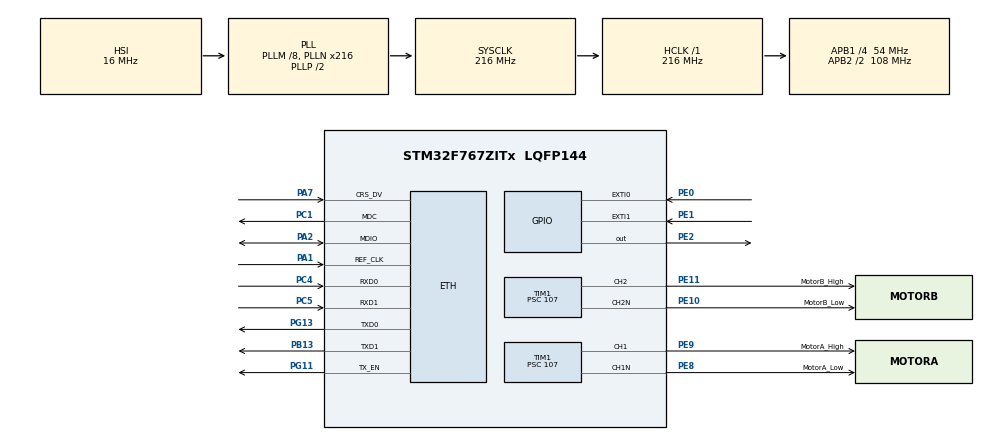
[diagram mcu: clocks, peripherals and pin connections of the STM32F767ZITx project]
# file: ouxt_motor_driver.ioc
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ETH.MediaInterface=HAL_ETH_RMII_MODE
ETH.RxMode=ETH_RXINTERRUPT_MODE
FREERTOS.Tasks01=defaultTask,0,512,StartDefaultTask,Default,NULL,Static,defaultTaskBuffer,defaultTaskControlBlock
FREERTOS.configMINIMAL_STACK_SIZE=512
FREERTOS.configTOTAL_HEAP_SIZE=30720
LWIP.BSP.number=1
LWIP.GATEWAY_ADDRESS=192.168.000.001
LWIP.IP_ADDRESS=192.168.000.200
LWIP.LWIP_DHCP=0
LWIP.LWIP_TCP=0
LWIP.NETMASK_ADDRESS=255.255.255.000
LWIP.Version=v2.1.2_Cube
LWIP0.BSP.STBoard=false
LWIP0.BSP.api=BSP_COMPONENT_DRIVER
LWIP0.BSP.component=LAN8742
LWIP0.BSP.instance=LAN8742
LWIP0.BSP.name=Driver_PHY
LWIP0.BSP.semaphore=S_LAN8742
LWIP0.BSP.solution=LAN8742
Mcu.Family=STM32F7
Mcu.Name=STM32F767ZITx
Mcu.Package=LQFP144
NVIC.ETH_IRQn=true\:5\:0\:false\:false\:true\:true\:false\:true\:true
NVIC.PriorityGroup=NVIC_PRIORITYGROUP_4
NVIC.TIM1_UP_TIM10_IRQn=true\:15\:0\:false\:false\:true\:false\:false\:true\:true
NVIC.TIM8_TRG_COM_TIM14_IRQn=true\:15\:0\:false\:false\:true\:false\:false\:true\:true
NVIC.TimeBase=TIM8_TRG_COM_TIM14_IRQn
NVIC.TimeBaseIP=TIM14
PA1.Mode=RMII
PA1.Signal=ETH_REF_CLK
PA13.Mode=Serial_Wire
PA13.Signal=SYS_JTMS-SWDIO
PA14.Mode=Serial_Wire
PA14.Signal=SYS_JTCK-SWCLK
PA2.Mode=RMII
PA2.Signal=ETH_MDIO
PA7.Mode=RMII
PA7.Signal=ETH_CRS_DV
PB13.Mode=RMII
PB13.Signal=ETH_TXD1
PC1.Mode=RMII
PC1.Signal=ETH_MDC
PC14/OSC32_IN.Mode=LSE-External-Oscillator
PC14/OSC32_IN.Signal=RCC_OSC32_IN
PC15/OSC32_OUT.Mode=LSE-External-Oscillator
PC15/OSC32_OUT.Signal=RCC_OSC32_OUT
PC4.Mode=RMII
PC4.Signal=ETH_RXD0
PC5.Mode=RMII
PC5.Signal=ETH_RXD1
PE0.Signal=GPXTI0
PE1.Signal=GPXTI1
PE10.GPIO_Label=MotorB_Low
PE10.GPIO_Speed=GPIO_SPEED_FREQ_VERY_HIGH
PE10.Mode=PWM Generation2 CH2 CH2N
PE10.Signal=TIM1_CH2N
PE11.GPIO_Label=MotorB_High
PE11.GPIO_Speed=GPIO_SPEED_FREQ_VERY_HIGH
PE11.Signal=S_TIM1_CH2
PE2.Signal=GPIO_Output
PE8.GPIO_Label=MotorA_Low
PE8.GPIO_Speed=GPIO_SPEED_FREQ_VERY_HIGH
PE8.Mode=PWM Generation1 CH1 CH1N
PE8.Signal=TIM1_CH1N
PE9.GPIO_Label=MotorA_High
PE9.GPIO_Speed=GPIO_SPEED_FREQ_VERY_HIGH
PE9.Signal=S_TIM1_CH1
PG11.Mode=RMII
PG11.Signal=ETH_TX_EN
PG13.Mode=RMII
PG13.Signal=ETH_TXD0
PH0/OSC_IN.Mode=HSE-External-Clock-Source
PH0/OSC_IN.Signal=RCC_OSC_IN
PH1/OSC_OUT.Mode=HSE-External-Clock-Source
PH1/OSC_OUT.Signal=RCC_OSC_OUT
ProjectManager.HeapSize=0x200
ProjectManager.StackSize=0x400
ProjectManager.TargetToolchain=STM32CubeIDE
RCC.AHBFreq_Value=216000000
RCC.APB1CLKDivider=RCC_HCLK_DIV4
RCC.APB1Freq_Value=54000000
RCC.APB1TimFreq_Value=108000000
RCC.APB2CLKDivider=RCC_HCLK_DIV2
RCC.APB2Freq_Value=108000000
RCC.APB2TimFreq_Value=216000000
RCC.CortexFreq_Value=216000000
RCC.HCLKFreq_Value=216000000
RCC.HSE_VALUE=8000000
RCC.HSI_VALUE=16000000
RCC.PLLM=8
RCC.PLLN=216
RCC.SYSCLKFreq_VALUE=216000000
RCC.SYSCLKSource=RCC_SYSCLKSOURCE_PLLCLK
RCC.USBFreq_Value=216000000
RCC.VCOOutputFreq_Value=432000000
SH.S_TIM1_CH1.0=TIM1_CH1,PWM Generation1 CH1 CH1N
SH.S_TIM1_CH2.0=TIM1_CH2,PWM Generation2 CH2 CH2N
TIM1.AutoReloadPreload=TIM_AUTORELOAD_PRELOAD_ENABLE
TIM1.AutomaticOutput=TIM_AUTOMATICOUTPUT_ENABLE
TIM1.Channel-PWM\ Generation1\ CH1\ CH1N=TIM_CHANNEL_1
TIM1.Channel-PWM\ Generation2\ CH2\ CH2N=TIM_CHANNEL_2
TIM1.DeadTime=0xac
TIM1.OCIdleState_1=TIM_OCIDLESTATE_SET
TIM1.OCIdleState_2=TIM_OCIDLESTATE_SET
TIM1.OCNIdleState_2=TIM_OCNIDLESTATE_SET
TIM1.Period=99
TIM1.Prescaler=107
VP_FREERTOS_VS_CMSIS_V1.Mode=CMSIS_V1
VP_LWIP_VS_Enabled.Mode=Enabled
VP_SYS_VS_tim14.Mode=TIM14
VP_TIM1_VS_ClockSourceINT.Mode=Internal
board=custom

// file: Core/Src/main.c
/* USER CODE BEGIN Header */
/**
  ******************************************************************************
  * @file           : main.c
  * @brief          : Main program body
  ******************************************************************************
  * @attention
  *
  * Copyright (c) 2024 STMicroelectronics.
  * All rights reserved.
  *
  * This software is licensed under terms that can be found in the LICENSE file
  * in the root directory of this software component.
  * If no LICENSE file comes with this software, it is provided AS-IS.
  *
  ******************************************************************************
  */
/* USER CODE END Header */
#include "main.h"
#include "cmsis_os.h"
#include "lwip.h"

/* USER CODE BEGIN Includes */
#include "motor.h"
#include "sockets.h"
#include "proto/thruster_command.pb.h"
#include "pb.h"
#include "pb_common.h"
#include "pb_decode.h"
#include "pb_encode.h"
#include "udp.h"
/* USER CODE END Includes */

/* USER CODE BEGIN PTD */
#define LWIP_TIMEVAL_PRIVATE	0
/* ping */
#define PING_USE_SOCKETS	1	//1=ping_thread
#define sys_msleep	vTaskDelay

/* USER CODE END PTD */

/* USER CODE BEGIN PM */
MotorHandleType motor = {};
/* USER CODE END PM */

TIM_HandleTypeDef htim1;

osThreadId defaultTaskHandle;
uint32_t defaultTaskBuffer[ 512 ];
osStaticThreadDef_t defaultTaskControlBlock;

void SystemClock_Config(void);
static void MX_GPIO_Init(void);
static void MX_TIM1_Init(void);
void StartDefaultTask(void const * argument);

int main(void)
{

  /* MCU Configuration--------------------------------------------------------*/

  /* Reset of all peripherals, Initializes the Flash interface and the Systick. */
  HAL_Init();

  /* Configure the system clock */
  SystemClock_Config();

  /* Initialize all configured peripherals */
  MX_GPIO_Init();
  MX_TIM1_Init();
  /* USER CODE BEGIN 2 */

  /*Initialize structure of motor handler*/
  motorHandleStructInit(&htim1, &motor);
  /*Enable to output PWM */
  motorEnablePWM_Output(&motor);
  /*Set duty*/
  motorSetSpeed(&motor, 0.0, 0.3);

  /* USER CODE END 2 */

  /* Create the thread(s) */
  /* definition and creation of defaultTask */
  osThreadStaticDef(defaultTask, StartDefaultTask, osPriorityNormal, 0, 512, defaultTaskBuffer, &defaultTaskControlBlock);
  defaultTaskHandle = osThreadCreate(osThread(defaultTask), NULL);

  /* Start scheduler */
  osKernelStart();

  /* We should never get here as control is now taken by the scheduler */

  /* Infinite loop */
  while (1)
  {

  }
}

void SystemClock_Config(void)
{
  RCC_OscInitTypeDef RCC_OscInitStruct = {0};
  RCC_ClkInitTypeDef RCC_ClkInitStruct = {0};

  /** Configure LSE Drive Capability
  */
  HAL_PWR_EnableBkUpAccess();

  /** Configure the main internal regulator output voltage
  */
  __HAL_RCC_PWR_CLK_ENABLE();
  __HAL_PWR_VOLTAGESCALING_CONFIG(PWR_REGULATOR_VOLTAGE_SCALE1);

  /** Initializes the RCC Oscillators according to the specified parameters
  * in the RCC_OscInitTypeDef structure.
  */
  RCC_OscInitStruct.OscillatorType = RCC_OSCILLATORTYPE_HSI;
  RCC_OscInitStruct.HSIState = RCC_HSI_ON;
  RCC_OscInitStruct.HSICalibrationValue = RCC_HSICALIBRATION_DEFAULT;
  RCC_OscInitStruct.PLL.PLLState = RCC_PLL_ON;
  RCC_OscInitStruct.PLL.PLLSource = RCC_PLLSOURCE_HSI;
  RCC_OscInitStruct.PLL.PLLM = 8;
  RCC_OscInitStruct.PLL.PLLN = 216;
  RCC_OscInitStruct.PLL.PLLP = RCC_PLLP_DIV2;
  RCC_OscInitStruct.PLL.PLLQ = 2;
  RCC_OscInitStruct.PLL.PLLR = 2;
  if (HAL_RCC_OscConfig(&RCC_OscInitStruct) != HAL_OK)
  {
    Error_Handler();
  }

  /** Activate the Over-Drive mode
  */
  if (HAL_PWREx_EnableOverDrive() != HAL_OK)
  {
    Error_Handler();
  }

  /** Initializes the CPU, AHB and APB buses clocks
  */
  RCC_ClkInitStruct.ClockType = RCC_CLOCKTYPE_HCLK|RCC_CLOCKTYPE_SYSCLK
                              |RCC_CLOCKTYPE_PCLK1|RCC_CLOCKTYPE_PCLK2;
  RCC_ClkInitStruct.SYSCLKSource = RCC_SYSCLKSOURCE_PLLCLK;
  RCC_ClkInitStruct.AHBCLKDivider = RCC_SYSCLK_DIV1;
  RCC_ClkInitStruct.APB1CLKDivider = RCC_HCLK_DIV4;
  RCC_ClkInitStruct.APB2CLKDivider = RCC_HCLK_DIV2;

  if (HAL_RCC_ClockConfig(&RCC_ClkInitStruct, FLASH_LATENCY_7) != HAL_OK)
  {
    Error_Handler();
  }
}

static void MX_TIM1_Init(void)
{

  TIM_ClockConfigTypeDef sClockSourceConfig = {0};
  TIM_MasterConfigTypeDef sMasterConfig = {0};
  TIM_OC_InitTypeDef sConfigOC = {0};
  TIM_BreakDeadTimeConfigTypeDef sBreakDeadTimeConfig = {0};

  htim1.Instance = TIM1;
  htim1.Init.Prescaler = 107;
  htim1.Init.CounterMode = TIM_COUNTERMODE_UP;
  htim1.Init.Period = 99;
  htim1.Init.ClockDivision = TIM_CLOCKDIVISION_DIV1;
  htim1.Init.RepetitionCounter = 0;
  htim1.Init.AutoReloadPreload = TIM_AUTORELOAD_PRELOAD_ENABLE;
  if (HAL_TIM_Base_Init(&htim1) != HAL_OK)
  {
    Error_Handler();
  }
  sClockSourceConfig.ClockSource = TIM_CLOCKSOURCE_INTERNAL;
  if (HAL_TIM_ConfigClockSource(&htim1, &sClockSourceConfig) != HAL_OK)
  {
    Error_Handler();
  }
  if (HAL_TIM_PWM_Init(&htim1) != HAL_OK)
  {
    Error_Handler();
  }
  sMasterConfig.MasterOutputTrigger = TIM_TRGO_RESET;
  sMasterConfig.MasterOutputTrigger2 = TIM_TRGO2_RESET;
  sMasterConfig.MasterSlaveMode = TIM_MASTERSLAVEMODE_DISABLE;
  if (HAL_TIMEx_MasterConfigSynchronization(&htim1, &sMasterConfig) != HAL_OK)
  {
    Error_Handler();
  }
  sConfigOC.OCMode = TIM_OCMODE_PWM1;
  sConfigOC.Pulse = 0;
  sConfigOC.OCPolarity = TIM_OCPOLARITY_HIGH;
  sConfigOC.OCNPolarity = TIM_OCNPOLARITY_HIGH;
  sConfigOC.OCFastMode = TIM_OCFAST_DISABLE;
  sConfigOC.OCIdleState = TIM_OCIDLESTATE_SET;
  sConfigOC.OCNIdleState = TIM_OCNIDLESTATE_RESET;
  if (HAL_TIM_PWM_ConfigChannel(&htim1, &sConfigOC, TIM_CHANNEL_1) != HAL_OK)
  {
    Error_Handler();
  }
  sConfigOC.OCNIdleState = TIM_OCNIDLESTATE_SET;
  if (HAL_TIM_PWM_ConfigChannel(&htim1, &sConfigOC, TIM_CHANNEL_2) != HAL_OK)
  {
    Error_Handler();
  }
  sBreakDeadTimeConfig.OffStateRunMode = TIM_OSSR_DISABLE;
  sBreakDeadTimeConfig.OffStateIDLEMode = TIM_OSSI_DISABLE;
  sBreakDeadTimeConfig.LockLevel = TIM_LOCKLEVEL_OFF;
  sBreakDeadTimeConfig.DeadTime = 0xac;
  sBreakDeadTimeConfig.BreakState = TIM_BREAK_DISABLE;
  sBreakDeadTimeConfig.BreakPolarity = TIM_BREAKPOLARITY_HIGH;
  sBreakDeadTimeConfig.BreakFilter = 0;
  sBreakDeadTimeConfig.Break2State = TIM_BREAK2_DISABLE;
  sBreakDeadTimeConfig.Break2Polarity = TIM_BREAK2POLARITY_HIGH;
  sBreakDeadTimeConfig.Break2Filter = 0;
  sBreakDeadTimeConfig.AutomaticOutput = TIM_AUTOMATICOUTPUT_ENABLE;
  if (HAL_TIMEx_ConfigBreakDeadTime(&htim1, &sBreakDeadTimeConfig) != HAL_OK)
  {
    Error_Handler();
  }
  HAL_TIM_MspPostInit(&htim1);

}

static void MX_GPIO_Init(void)
{
  GPIO_InitTypeDef GPIO_InitStruct = {0};

  /* GPIO Ports Clock Enable */
  __HAL_RCC_GPIOE_CLK_ENABLE();
  __HAL_RCC_GPIOC_CLK_ENABLE();
  __HAL_RCC_GPIOH_CLK_ENABLE();
  __HAL_RCC_GPIOA_CLK_ENABLE();
  __HAL_RCC_GPIOB_CLK_ENABLE();
  __HAL_RCC_GPIOG_CLK_ENABLE();

  /*Configure GPIO pin Output Level */
  HAL_GPIO_WritePin(GPIOE, GPIO_PIN_2, GPIO_PIN_RESET);

  /*Configure GPIO pin : PE2 */
  GPIO_InitStruct.Pin = GPIO_PIN_2;
  GPIO_InitStruct.Mode = GPIO_MODE_OUTPUT_PP;
  GPIO_InitStruct.Pull = GPIO_NOPULL;
  GPIO_InitStruct.Speed = GPIO_SPEED_FREQ_LOW;
  HAL_GPIO_Init(GPIOE, &GPIO_InitStruct);

  /*Configure GPIO pins : PE0 PE1 */
  GPIO_InitStruct.Pin = GPIO_PIN_0|GPIO_PIN_1;
  GPIO_InitStruct.Mode = GPIO_MODE_IT_RISING;
  GPIO_InitStruct.Pull = GPIO_NOPULL;
  HAL_GPIO_Init(GPIOE, &GPIO_InitStruct);

}

void StartDefaultTask(void const * argument)
{
  /* init code for LWIP */
  MX_LWIP_Init();
  /* USER CODE BEGIN 5 */
  /// This code from https://zenn.dev/legityew/articles/080680f2539068#%E3%83%97%E3%83%AD%E3%82%B0%E3%83%A9%E3%83%A0
  /// See also https://qiita.com/Kosuke_Matsui/items/878b4f511366675d9428#%E3%83%A1%E3%83%83%E3%82%BB%E3%83%BC%E3%82%B8%E5%AE%9F%E4%BD%93%E3%81%AE%E4%BD%9C%E6%88%90-1
  /// It will be replace in the near future
  //アドレスを宣言
  struct sockaddr_in rxAddr;
  //ソケットを作成
  int socket = lwip_socket(AF_INET, SOCK_DGRAM, 0);
  //アドレスのメモリを確保
  memset((char*) &rxAddr, 0, sizeof(rxAddr));
  //アドレスの構造体のデータを定義
  rxAddr.sin_family = AF_INET; //プロトコルファミリの設定(IPv4に設定)
  rxAddr.sin_len = sizeof(rxAddr); //アドレスのデータサイズ
  rxAddr.sin_addr.s_addr = INADDR_ANY; //アドレスの設定(今回はすべてのアドレスを受け入れるためINADDR_ANY)
  rxAddr.sin_port = lwip_htons(2000); //ポートの指定
  (void)lwip_bind(socket, (struct sockaddr*)&rxAddr, sizeof(rxAddr)); //IPアドレスとソケットを紐付けて受信をできる状態に
  // socklen_t n; //受信したデータのサイズ
  socklen_t len = sizeof(rxAddr); //rxAddrのサイズ

  /* Infinite loop */
  for(;;)
  {
	uint8_t raw_message_buffer[communication_Command_size];
	memset(raw_message_buffer, 0, sizeof(raw_message_buffer));
	lwip_recvfrom(socket, (uint8_t*) raw_message_buffer, sizeof(raw_message_buffer), (int) NULL, (struct sockaddr*) &rxAddr, &len);

	int index = -1;
	for (int i = communication_Command_size - 1; i >= 0; i--) {
	  if (raw_message_buffer[i] != 0) {
	    index = i;
	    break;
	  }
	}
	communication_Command message = communication_Command_init_zero;
	// If this case, it means all fields in message is zero.
	if(index == -1) {
	  motorSetSpeed(&motor, 0.0, 0.3);
	}
	else {
	  uint8_t *message_buffer = (uint8_t *)malloc((index + 1) * sizeof(uint8_t));
	  memcpy(message_buffer, raw_message_buffer, (index + 1) * sizeof(uint8_t));
	  pb_istream_t istream = pb_istream_from_buffer(message_buffer, (index + 1) * sizeof(uint8_t));
	  if (pb_decode(&istream, communication_Command_fields, &message)) {
		if(message.emergency_stop) {
		  motorSetSpeed(&motor, 0.0, 0.0);
		}
	    else {
		  motorSetSpeed(&motor, message.thrust, 0.3);
	    }
      }
	  free(message_buffer);
	}
	osDelay(10);
  }
  /* USER CODE END 5 */
}

void HAL_TIM_PeriodElapsedCallback(TIM_HandleTypeDef *htim)
{
  if (htim->Instance == TIM14) {
    HAL_IncTick();
  }
}

void Error_Handler(void)
{
  __disable_irq();
  while (1)
  {
  }
}
